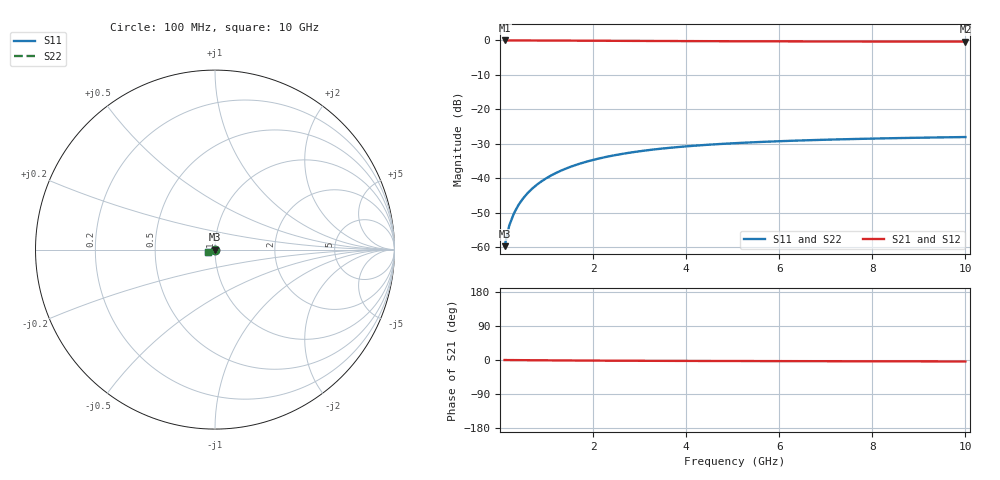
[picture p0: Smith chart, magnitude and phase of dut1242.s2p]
! Touchstone file exported from HFSS 2024.1.0
!  File:  C:/UserFiles/LocalFiles/RDL_TSV_Batchsim/temp_TSV1_1242_1780251410.aedt
!  Generated:  02:22:33 AM Jun  1, 2026
!  Design:  TSV1
!  Project:  temp_TSV1_1242_1780251410
!  Setup:  Setup1
!  Solution:  Sweep
! Variables:
!  dtsv = 11.15um
!  hbump = 3um
!  htsv = 58.13um
!  lrdl = 252.1521522um
!  p = 40
!  p1 = 42.2um
!  t = 500um
!  trdl = 3um
!  wrdl = 24.89489489um
# GHz S MA R 50.000000
! Terminal data exported
! Port[1] = TSV22_T1
! Port[2] = TSV22_T2
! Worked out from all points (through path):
!   100 points, 100 MHz to 10 GHz, reference 50 ohm
!   highest |S21| = 0.00 dB at 100 MHz (marker M1); lowest = -0.3 dB at 10 GHz (marker M2)
!   lowest |S11| = -59.7 dB at 100 MHz (marker M3), VSWR 1.00, Z = 50 - j0.104 ohm
!   |S11| at or under -10 dB: start of sweep to end of sweep
!   |S22| runs from -59.7 to -28.0 dB; largest |S21 - S12| = 4.2e-15
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0.1  0.00104 -86.1  0.9999 -0.1  0.9999 -0.1  0.00104 -86.1
! Gamma 0 0 0 0
! Port Impedance 50 0 50 0
0.2  0.002074 -90.4  0.9998 -0.2  0.9998 -0.2  0.002074 -90.4
0.3  0.003107 -92.9  0.9996 -0.3  0.9996 -0.3  0.003107 -92.9
0.4  0.004137 -94.9  0.9994 -0.4  0.9994 -0.4  0.004137 -94.9
0.5  0.00516 -96.7  0.9992 -0.5  0.9992 -0.5  0.00516 -96.7
0.6  0.006174 -98.4  0.9989 -0.6  0.9989 -0.6  0.006174 -98.4
0.7  0.007176 -100.0  0.9985 -0.6  0.9985 -0.6  0.007176 -100.0
0.8  0.008165 -101.5  0.9981 -0.7  0.9981 -0.7  0.008165 -101.5
0.9  0.009137 -103.0  0.9976 -0.8  0.9976 -0.8  0.009138 -103.0
1.1  0.01103 -106.0  0.9966 -1.0  0.9966 -1.0  0.01103 -106.0
1.4  0.01372 -110.2  0.9949 -1.2  0.9949 -1.2  0.01372 -110.2
1.6  0.01541 -112.8  0.9936 -1.3  0.9936 -1.3  0.01541 -112.8
1.8  0.01701 -115.4  0.9923 -1.5  0.9923 -1.5  0.01701 -115.4
2.1  0.01923 -119.0  0.9903 -1.6  0.9903 -1.6  0.01923 -119.0
2.5  0.02188 -123.4  0.9876 -1.8  0.9876 -1.8  0.02188 -123.4
2.9  0.0242 -127.5  0.985 -2.0  0.985 -2.0  0.0242 -127.5
3.4  0.02667 -132.0  0.9819 -2.2  0.9819 -2.2  0.02667 -132.0
4.2  0.02984 -138.1  0.9775 -2.5  0.9775 -2.5  0.02984 -138.1
5.1  0.03253 -143.8  0.9734 -2.7  0.9734 -2.7  0.03253 -143.8
6.7  0.03587 -151.6  0.968 -3.1  0.968 -3.1  0.03587 -151.6
8.4  0.03822 -157.8  0.964 -3.5  0.964 -3.5  0.03822 -157.8
10  0.03976 -162.6  0.9613 -3.9  0.9613 -3.9  0.03976 -162.6
